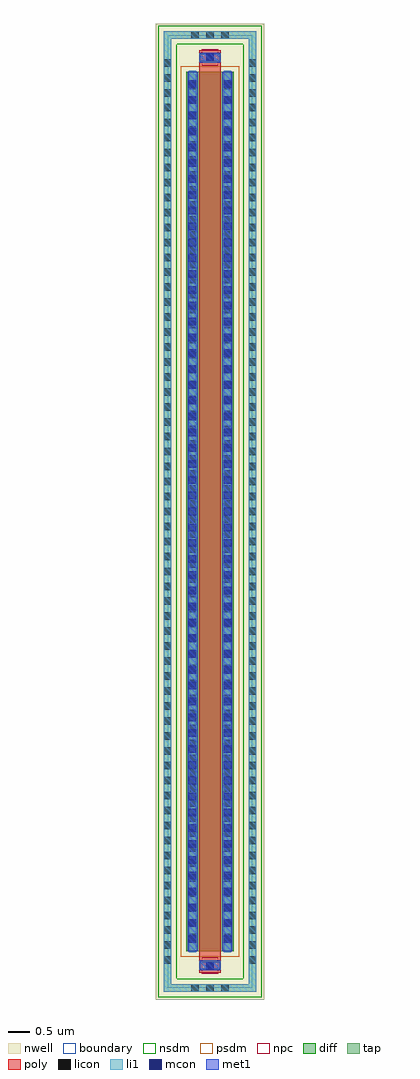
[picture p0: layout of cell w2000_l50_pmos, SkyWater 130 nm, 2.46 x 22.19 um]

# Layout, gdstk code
import gdstk
lib = gdstk.Library(unit=1e-6, precision=1e-09)
def R(c, l, rs):  # rectangles x0, y0, x1, y1
    for r in rs: c.add(gdstk.rectangle(r[:2], r[2:], *l))
def A(c, l, x, y, w, h, nx, ny, dx, dy):  # array of equal rectangles
    R(c, l, [(x+i*dx, y+j*dy, x+i*dx+w, y+j*dy+h) for i in range(nx) for j in range(ny)])
nwell = (64, 20)
diff = (65, 20)
tap = (65, 44)
poly = (66, 20)
licon = (66, 44)
li1 = (67, 20)
mcon = (67, 44)
met1 = (68, 20)
nsdm = (93, 44)
psdm = (94, 20)
npc = (95, 20)
boundary = (235, 4)

sky130_fd_pr__pfet_01v8 = lib.new_cell('sky130_fd_pr__pfet_01v8')

w2000_l50_pmos = lib.new_cell('w2000_l50_pmos')
R(w2000_l50_pmos, nwell, [(-1.23,-11.095,1.23,11.095)])
R(w2000_l50_pmos, diff, [(-0.54,-10,0.54,10)])
R(w2000_l50_pmos, tap, [(-1.05,-10.915,1.05,-10.745), (-1.05,-10.745,-0.88,10.745), (0.88,-10.745,1.05,10.745), (-1.05,10.745,1.05,10.915)])
R(w2000_l50_pmos, poly, [(-0.25,-10.485,0.25,10.485)])
A(w2000_l50_pmos, licon, -0.425, -10.915, 0.17, 0.17, 3, 2, 0.34, 21.66)
A(w2000_l50_pmos, licon, -1.05, -10.285, 0.17, 0.17, 1, 61, 0, 0.34)
A(w2000_l50_pmos, licon, 0.88, -10.285, 0.17, 0.17, 1, 61, 0, 0.34)
A(w2000_l50_pmos, licon, -0.48, -9.775, 0.17, 0.17, 1, 58, 0, 0.34)
A(w2000_l50_pmos, licon, 0.31, -9.775, 0.17, 0.17, 1, 58, 0, 0.34)
R(w2000_l50_pmos, licon, [(-0.085,-10.405,0.085,-10.235), (-0.085,10.235,0.085,10.405)])
R(w2000_l50_pmos, li1, [(-1.05,-10.915,1.05,-10.745), (-1.05,-10.745,-0.88,10.745), (0.88,-10.745,1.05,10.745), (-0.25,-10.405,0.25,-10.235), (-0.48,-10.02,-0.31,10.02), (0.31,-10.02,0.48,10.02), (-0.25,10.235,0.25,10.405), (-1.05,10.745,1.05,10.915)])
A(w2000_l50_pmos, mcon, -0.48, -9.805, 0.17, 0.17, 1, 55, 0, 0.36)
A(w2000_l50_pmos, mcon, 0.31, -9.805, 0.17, 0.17, 1, 55, 0, 0.36)
R(w2000_l50_pmos, mcon, [(-0.085,-10.405,0.085,-10.235), (-0.085,10.235,0.085,10.405)])
R(w2000_l50_pmos, met1, [(-0.23,-10.435,0.23,-10.205), (-0.51,-10,-0.28,10), (0.28,-10,0.51,10), (-0.23,10.205,0.23,10.435)])
R(w2000_l50_pmos, nsdm, [(-1.175,-11.04,1.175,-10.62), (-1.175,-10.62,-0.755,10.62), (0.755,-10.62,1.175,10.62), (-1.175,10.62,1.175,11.04)])
R(w2000_l50_pmos, psdm, [(-0.665,-10.125,0.665,10.125)])
R(w2000_l50_pmos, npc, [(-0.185,-10.505,0.185,-10.135), (-0.185,10.135,0.185,10.505)])
R(w2000_l50_pmos, boundary, [(-0.965,-10.83,0.965,10.83)])
w2000_l50_pmos.add(gdstk.Reference(sky130_fd_pr__pfet_01v8, (0,0)))

lib.write_gds('w2000_l50_pmos.gds')
